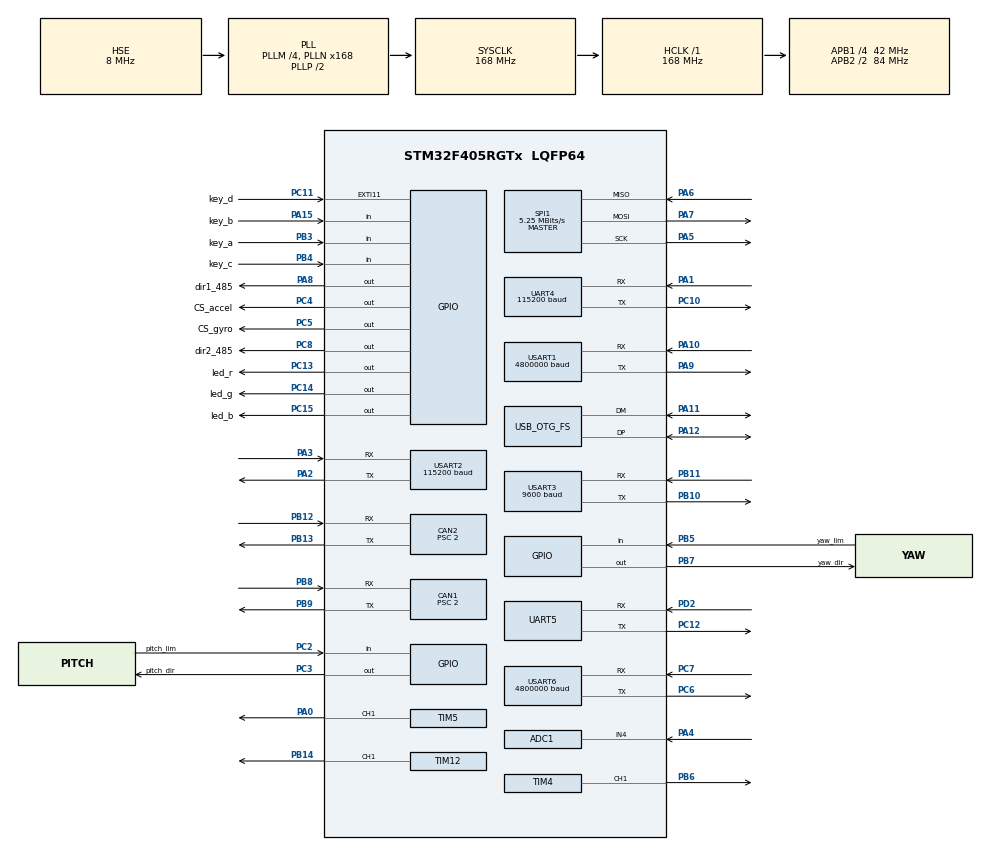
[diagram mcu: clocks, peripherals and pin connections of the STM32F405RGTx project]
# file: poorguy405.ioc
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ADC1.Channel-0\#ChannelRegularConversion=ADC_CHANNEL_4
ADC1.NbrOfConversionFlag=1
ADC1.Rank-0\#ChannelRegularConversion=1
ADC1.SamplingTime-0\#ChannelRegularConversion=ADC_SAMPLETIME_3CYCLES
ADC1.master=1
CAN1.ABOM=ENABLE
CAN1.AWUM=ENABLE
CAN1.BS1=CAN_BS1_15TQ
CAN1.BS2=CAN_BS2_5TQ
CAN1.CalculateBaudRate=1000000
CAN1.CalculateTimeBit=1000
CAN1.CalculateTimeQuantum=47.61904761904762
CAN1.NART=DISABLE
CAN1.Prescaler=2
CAN2.ABOM=ENABLE
CAN2.BS1=CAN_BS1_15TQ
CAN2.BS2=CAN_BS2_5TQ
CAN2.CalculateBaudRate=1000000
CAN2.CalculateTimeBit=1000
CAN2.CalculateTimeQuantum=47.61904761904762
CAN2.NART=ENABLE
CAN2.Prescaler=2
Dma.Request0=UART4_TX
Dma.Request1=UART5_TX
Dma.Request2=USART6_TX
Dma.Request3=USART1_TX
Dma.Request4=UART4_RX
Dma.Request5=UART5_RX
Dma.UART4_RX.4.Direction=DMA_PERIPH_TO_MEMORY
Dma.UART4_RX.4.FIFOMode=DMA_FIFOMODE_DISABLE
Dma.UART4_RX.4.Instance=DMA1_Stream2
Dma.UART4_RX.4.MemDataAlignment=DMA_MDATAALIGN_BYTE
Dma.UART4_RX.4.MemInc=DMA_MINC_ENABLE
Dma.UART4_RX.4.Mode=DMA_NORMAL
Dma.UART4_RX.4.PeriphDataAlignment=DMA_PDATAALIGN_BYTE
Dma.UART4_RX.4.PeriphInc=DMA_PINC_DISABLE
Dma.UART4_RX.4.Priority=DMA_PRIORITY_LOW
Dma.UART4_TX.0.Direction=DMA_MEMORY_TO_PERIPH
Dma.UART4_TX.0.FIFOMode=DMA_FIFOMODE_DISABLE
Dma.UART4_TX.0.Instance=DMA1_Stream4
Dma.UART4_TX.0.MemDataAlignment=DMA_MDATAALIGN_BYTE
Dma.UART4_TX.0.MemInc=DMA_MINC_ENABLE
Dma.UART4_TX.0.Mode=DMA_NORMAL
Dma.UART4_TX.0.PeriphDataAlignment=DMA_PDATAALIGN_BYTE
Dma.UART4_TX.0.PeriphInc=DMA_PINC_DISABLE
Dma.UART4_TX.0.Priority=DMA_PRIORITY_LOW
Dma.UART5_RX.5.Direction=DMA_PERIPH_TO_MEMORY
Dma.UART5_RX.5.FIFOMode=DMA_FIFOMODE_DISABLE
Dma.UART5_RX.5.Instance=DMA1_Stream0
Dma.UART5_RX.5.MemDataAlignment=DMA_MDATAALIGN_BYTE
Dma.UART5_RX.5.MemInc=DMA_MINC_ENABLE
Dma.UART5_RX.5.Mode=DMA_CIRCULAR
Dma.UART5_RX.5.PeriphDataAlignment=DMA_PDATAALIGN_BYTE
Dma.UART5_RX.5.PeriphInc=DMA_PINC_DISABLE
Dma.UART5_RX.5.Priority=DMA_PRIORITY_LOW
Dma.UART5_TX.1.Direction=DMA_MEMORY_TO_PERIPH
Dma.UART5_TX.1.FIFOMode=DMA_FIFOMODE_DISABLE
Dma.UART5_TX.1.Instance=DMA1_Stream7
Dma.UART5_TX.1.MemDataAlignment=DMA_MDATAALIGN_BYTE
Dma.UART5_TX.1.MemInc=DMA_MINC_ENABLE
Dma.UART5_TX.1.Mode=DMA_NORMAL
Dma.UART5_TX.1.PeriphDataAlignment=DMA_PDATAALIGN_BYTE
Dma.UART5_TX.1.PeriphInc=DMA_PINC_DISABLE
Dma.UART5_TX.1.Priority=DMA_PRIORITY_LOW
Dma.USART1_TX.3.Direction=DMA_MEMORY_TO_PERIPH
Dma.USART1_TX.3.FIFOMode=DMA_FIFOMODE_DISABLE
Dma.USART1_TX.3.Instance=DMA2_Stream7
Dma.USART1_TX.3.MemDataAlignment=DMA_MDATAALIGN_BYTE
Dma.USART1_TX.3.MemInc=DMA_MINC_ENABLE
Dma.USART1_TX.3.Mode=DMA_NORMAL
Dma.USART1_TX.3.PeriphDataAlignment=DMA_PDATAALIGN_BYTE
Dma.USART1_TX.3.PeriphInc=DMA_PINC_DISABLE
Dma.USART1_TX.3.Priority=DMA_PRIORITY_LOW
Dma.USART6_TX.2.Direction=DMA_MEMORY_TO_PERIPH
Dma.USART6_TX.2.FIFOMode=DMA_FIFOMODE_DISABLE
Dma.USART6_TX.2.Instance=DMA2_Stream6
Dma.USART6_TX.2.MemDataAlignment=DMA_MDATAALIGN_BYTE
Dma.USART6_TX.2.MemInc=DMA_MINC_ENABLE
Dma.USART6_TX.2.Mode=DMA_NORMAL
Dma.USART6_TX.2.PeriphDataAlignment=DMA_PDATAALIGN_BYTE
Dma.USART6_TX.2.PeriphInc=DMA_PINC_DISABLE
Dma.USART6_TX.2.Priority=DMA_PRIORITY_LOW
Mcu.Family=STM32F4
Mcu.Name=STM32F405RGTx
Mcu.Package=LQFP64
NVIC.CAN1_RX0_IRQn=true\:3\:0\:true\:false\:true\:true\:true\:true
NVIC.CAN1_RX1_IRQn=true\:3\:0\:true\:false\:true\:true\:true\:true
NVIC.CAN2_RX0_IRQn=true\:1\:0\:true\:false\:true\:true\:true\:true
NVIC.CAN2_RX1_IRQn=true\:1\:0\:true\:false\:true\:true\:true\:true
NVIC.DMA1_Stream0_IRQn=true\:0\:0\:false\:false\:true\:false\:true\:true
NVIC.DMA1_Stream2_IRQn=true\:0\:0\:false\:false\:true\:false\:true\:true
NVIC.DMA1_Stream4_IRQn=true\:0\:0\:false\:false\:true\:false\:true\:true
NVIC.DMA1_Stream7_IRQn=true\:0\:0\:false\:false\:true\:false\:true\:true
NVIC.DMA2_Stream6_IRQn=true\:0\:0\:false\:false\:true\:false\:true\:true
NVIC.DMA2_Stream7_IRQn=true\:0\:0\:false\:false\:true\:false\:true\:true
NVIC.EXTI15_10_IRQn=true\:2\:0\:true\:false\:true\:true\:true\:true
NVIC.OTG_FS_IRQn=true\:0\:0\:false\:false\:true\:false\:true\:true
NVIC.PriorityGroup=NVIC_PRIORITYGROUP_4
NVIC.TIM6_DAC_IRQn=true\:4\:0\:true\:false\:true\:true\:true\:true
NVIC.UART4_IRQn=true\:6\:0\:true\:false\:true\:true\:true\:true
NVIC.UART5_IRQn=true\:5\:0\:true\:false\:true\:true\:true\:true
NVIC.USART1_IRQn=true\:8\:0\:true\:false\:true\:true\:true\:true
NVIC.USART6_IRQn=true\:7\:0\:true\:false\:true\:true\:true\:true
PA0-WKUP.Signal=S_TIM5_CH1
PA1.Mode=Asynchronous
PA1.Signal=UART4_RX
PA10.Mode=Asynchronous
PA10.Signal=USART1_RX
PA11.Mode=Device_Only
PA11.Signal=USB_OTG_FS_DM
PA12.Mode=Device_Only
PA12.Signal=USB_OTG_FS_DP
PA13.Mode=Serial_Wire
PA13.Signal=SYS_JTMS-SWDIO
PA14.Mode=Serial_Wire
PA14.Signal=SYS_JTCK-SWCLK
PA15.GPIO_Label=key_b
PA15.Signal=GPIO_Input
PA2.Mode=Asynchronous
PA2.Signal=USART2_TX
PA3.Mode=Asynchronous
PA3.Signal=USART2_RX
PA4.Signal=ADCx_IN4
PA5.Mode=Full_Duplex_Master
PA5.Signal=SPI1_SCK
PA6.Mode=Full_Duplex_Master
PA6.Signal=SPI1_MISO
PA7.Mode=Full_Duplex_Master
PA7.Signal=SPI1_MOSI
PA8.GPIO_Label=dir1_485
PA8.Signal=GPIO_Output
PA9.Mode=Asynchronous
PA9.Signal=USART1_TX
PB10.Mode=Asynchronous
PB10.Signal=USART3_TX
PB11.Mode=Asynchronous
PB11.Signal=USART3_RX
PB12.Mode=CAN_Activate
PB12.Signal=CAN2_RX
PB13.Mode=CAN_Activate
PB13.Signal=CAN2_TX
PB14.Signal=S_TIM12_CH1
PB3.GPIO_Label=key_a
PB3.Signal=GPIO_Input
PB4.GPIO_Label=key_c
PB4.Signal=GPIO_Input
PB5.GPIO_Label=yaw_lim
PB5.GPIO_PuPd=GPIO_PULLDOWN
PB5.Signal=GPIO_Input
PB6.Signal=S_TIM4_CH1
PB7.GPIO_Label=yaw_dir
PB7.Signal=GPIO_Output
PB8.Mode=CAN_Activate
PB8.Signal=CAN1_RX
PB9.Mode=CAN_Activate
PB9.Signal=CAN1_TX
PC10.Mode=Asynchronous
PC10.Signal=UART4_TX
PC11.GPIO_Label=key_d
PC11.GPIO_ModeDefaultEXTI=GPIO_MODE_IT_RISING_FALLING
PC11.Signal=GPXTI11
PC12.Mode=Asynchronous
PC12.Signal=UART5_TX
PC13-ANTI_TAMP.GPIO_Label=led_r
PC13-ANTI_TAMP.GPIO_PuPd=GPIO_NOPULL
PC13-ANTI_TAMP.Signal=GPIO_Output
PC14-OSC32_IN.GPIO_Label=led_g
PC14-OSC32_IN.GPIO_PuPd=GPIO_NOPULL
PC14-OSC32_IN.Signal=GPIO_Output
PC15-OSC32_OUT.GPIO_Label=led_b
PC15-OSC32_OUT.GPIO_PuPd=GPIO_NOPULL
PC15-OSC32_OUT.Signal=GPIO_Output
PC2.GPIO_Label=pitch_lim
PC2.GPIO_PuPd=GPIO_PULLDOWN
PC2.Signal=GPIO_Input
PC3.GPIO_Label=pitch_dir
PC3.Signal=GPIO_Output
PC4.GPIO_Label=CS_accel
PC4.Signal=GPIO_Output
PC5.GPIO_Label=CS_gyro
PC5.Signal=GPIO_Output
PC6.Mode=Asynchronous
PC6.Signal=USART6_TX
PC7.Mode=Asynchronous
PC7.Signal=USART6_RX
PC8.GPIO_Label=dir2_485
PC8.Signal=GPIO_Output
PD2.Mode=Asynchronous
PD2.Signal=UART5_RX
PH0-OSC_IN.Mode=HSE-External-Oscillator
PH0-OSC_IN.Signal=RCC_OSC_IN
PH1-OSC_OUT.Mode=HSE-External-Oscillator
PH1-OSC_OUT.Signal=RCC_OSC_OUT
ProjectManager.HeapSize=0x200
ProjectManager.StackSize=0x400
ProjectManager.TargetToolchain=MDK-ARM V5.32
RCC.48MHZClocksFreq_Value=48000000
RCC.AHBFreq_Value=168000000
RCC.APB1CLKDivider=RCC_HCLK_DIV4
RCC.APB1Freq_Value=42000000
RCC.APB1TimFreq_Value=84000000
RCC.APB2CLKDivider=RCC_HCLK_DIV2
RCC.APB2Freq_Value=84000000
RCC.APB2TimFreq_Value=168000000
RCC.CortexFreq_Value=168000000
RCC.HCLKFreq_Value=168000000
RCC.HSE_VALUE=8000000
RCC.HSI_VALUE=16000000
RCC.LSE_VALUE=32768
RCC.PLLM=4
RCC.PLLN=168
RCC.PLLQ=7
RCC.SYSCLKFreq_VALUE=168000000
RCC.SYSCLKSource=RCC_SYSCLKSOURCE_PLLCLK
RCC.VCOOutputFreq_Value=336000000
SH.ADCx_IN4.0=ADC1_IN4,IN4
SH.S_TIM12_CH1.0=TIM12_CH1,PWM Generation1 CH1
SH.S_TIM4_CH1.0=TIM4_CH1,PWM Generation1 CH1
SH.S_TIM5_CH1.0=TIM5_CH1,PWM Generation1 CH1
SPI1.BaudRatePrescaler=SPI_BAUDRATEPRESCALER_16
SPI1.CalculateBaudRate=5.25 MBits/s
SPI1.Direction=SPI_DIRECTION_2LINES
SPI1.Mode=SPI_MODE_MASTER
SPI1.VirtualType=VM_MASTER
TIM12.Channel-PWM\ Generation1\ CH1=TIM_CHANNEL_1
TIM12.Period=9
TIM12.Prescaler=16799
TIM12.Pulse-PWM\ Generation1\ CH1=5
TIM4.Channel-PWM\ Generation1\ CH1=TIM_CHANNEL_1
TIM5.Channel-PWM\ Generation1\ CH1=TIM_CHANNEL_1
TIM6.Period=999
TIM6.Prescaler=167
UART4.BaudRate=115200
UART4.VirtualMode=Asynchronous
UART5.VirtualMode=Asynchronous
USART1.BaudRate=4800000
USART1.VirtualMode=VM_ASYNC
USART2.BaudRate=115200
USART2.VirtualMode=VM_ASYNC
USART3.BaudRate=9600
USART3.VirtualMode=VM_ASYNC
USART6.BaudRate=4800000
USART6.VirtualMode=VM_ASYNC
USB_DEVICE.CLASS_NAME_FS=CDC
USB_DEVICE.VirtualMode-CDC_FS=Cdc
USB_DEVICE.VirtualModeFS=Cdc_FS
USB_OTG_FS.VirtualMode=Device_Only
VP_TIM12_VS_ClockSourceINT.Mode=Internal
VP_TIM4_VS_ClockSourceINT.Mode=Internal
VP_TIM5_VS_ClockSourceINT.Mode=Internal
VP_TIM6_VS_ClockSourceINT.Mode=Enable_Timer
VP_USB_DEVICE_VS_USB_DEVICE_CDC_FS.Mode=CDC_FS
board=custom

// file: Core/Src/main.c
/* USER CODE BEGIN Header */
/**
  ******************************************************************************
  * @file           : main.c
  * @brief          : Main program body
  ******************************************************************************
  * @attention
  *
  * Copyright (c) 2024 STMicroelectronics.
  * All rights reserved.
  *
  * This software is licensed under terms that can be found in the LICENSE file
  * in the root directory of this software component.
  * If no LICENSE file comes with this software, it is provided AS-IS.
  *
  ******************************************************************************
  */
/* USER CODE END Header */
#include "main.h"
#include "adc.h"
#include "can.h"
#include "dma.h"
#include "spi.h"
#include "tim.h"
#include "usart.h"
#include "usb_device.h"
#include "gpio.h"

/* USER CODE BEGIN Includes */
#include "BMI088driver.h"
#include <unitree_A1_change_ID.h>
#include "bsp_can.h"
#include "dm_motor_drv.h"
#include "dm_motor_ctrl.h"

#include "odrive_can.h"
#include "ros_main.h"
/* USER CODE END Includes */

/* USER CODE BEGIN PV */
uint8_t rebuf[12];

/* USER CODE END PV */

void SystemClock_Config(void);

/* USER CODE BEGIN 0 */

void HAL_UART_RxCpltCallback(UART_HandleTypeDef *huart)
{
        HAL_UART_Receive_DMA(&huart1,(uint8_t *)rebuf,12); // ????DMA??
}

/* USER CODE END 0 */

int main(void)
{

  /* MCU Configuration--------------------------------------------------------*/

  /* Reset of all peripherals, Initializes the Flash interface and the Systick. */
  HAL_Init();

  /* Configure the system clock */
  SystemClock_Config();

  /* Initialize all configured peripherals */
  MX_GPIO_Init();
  MX_DMA_Init();
  MX_CAN1_Init();
  MX_CAN2_Init();
  MX_SPI1_Init();
  MX_UART4_Init();
  MX_UART5_Init();
  MX_ADC1_Init();
  MX_TIM4_Init();
  MX_TIM5_Init();
  MX_USART1_UART_Init();
  MX_USART2_UART_Init();
  MX_USART3_UART_Init();
  MX_USART6_UART_Init();
  MX_USB_DEVICE_Init();
  MX_TIM12_Init();
  MX_TIM6_Init();
  /* USER CODE BEGIN 2 */
	setup();//ros communicate sys

	while(BMI088_init()){}
//	startup_sing();

//	dm_motor_init();
//	write_motor_data(motor[Motor1].id, 10, 1, 0, 0, 0);// hack ,i feel nosense
//	HAL_Delay(1);
//	save_motor_data(motor[Motor1].id, 10);
//	HAL_Delay(1);

	HAL_GPIO_WritePin(dir1_485_GPIO_Port,dir1_485_Pin,1);//TX mode
	HAL_GPIO_WritePin(dir2_485_GPIO_Port,dir2_485_Pin,1);

	HAL_GPIO_WritePin(led_r_GPIO_Port,led_r_Pin,1); //turn off red led;
	HAL_GPIO_WritePin(led_g_GPIO_Port,led_g_Pin,1);
	HAL_GPIO_WritePin(led_b_GPIO_Port,led_b_Pin,1);
	while(1){
		HAL_Delay(200);
		HAL_GPIO_TogglePin(led_r_GPIO_Port,led_r_Pin);

		if(HAL_GPIO_ReadPin(key_c_GPIO_Port,key_c_Pin) == GPIO_PIN_SET){ //if all the motor has power supply
			HAL_GPIO_WritePin(led_r_GPIO_Port,led_r_Pin,1); //turn off red led;
			break;
		}
	}

	while(1){ //waiting person start mission
		HAL_Delay(200);
		HAL_GPIO_TogglePin(led_r_GPIO_Port,led_r_Pin);
		HAL_GPIO_TogglePin(led_g_GPIO_Port,led_g_Pin);

		if(HAL_GPIO_ReadPin(key_d_GPIO_Port,key_d_Pin) == GPIO_PIN_SET){
			HAL_GPIO_WritePin(led_r_GPIO_Port,led_r_Pin,1); //turn off red led;
//		bsp_can_init();
//			dm_motor_enable(&hcan1, &motor[Motor1]);
//			dm_motor_enable(&hcan2, &motor[Motor1]);
			change_A1_id();

			HAL_GPIO_WritePin(dir1_485_GPIO_Port,dir1_485_Pin,0);//RX mode
			HAL_GPIO_WritePin(dir2_485_GPIO_Port,dir2_485_Pin,0);
			//HAL_TIM_Base_Start_IT(&htim6);// 50hz event

			//HAL_UART_Receive_DMA(&huart5,(uint8_t *)rebuf,12);
			break;
		}
	}

  /* USER CODE END 2 */

  /* Infinite loop */
  /* USER CODE BEGIN WHILE */
  while (1)
  {
		loop();

    /* USER CODE END WHILE */

  }
}

void SystemClock_Config(void)
{
  RCC_OscInitTypeDef RCC_OscInitStruct = {0};
  RCC_ClkInitTypeDef RCC_ClkInitStruct = {0};

  /** Configure the main internal regulator output voltage
  */
  __HAL_RCC_PWR_CLK_ENABLE();
  __HAL_PWR_VOLTAGESCALING_CONFIG(PWR_REGULATOR_VOLTAGE_SCALE1);

  /** Initializes the RCC Oscillators according to the specified parameters
  * in the RCC_OscInitTypeDef structure.
  */
  RCC_OscInitStruct.OscillatorType = RCC_OSCILLATORTYPE_HSE;
  RCC_OscInitStruct.HSEState = RCC_HSE_ON;
  RCC_OscInitStruct.PLL.PLLState = RCC_PLL_ON;
  RCC_OscInitStruct.PLL.PLLSource = RCC_PLLSOURCE_HSE;
  RCC_OscInitStruct.PLL.PLLM = 4;
  RCC_OscInitStruct.PLL.PLLN = 168;
  RCC_OscInitStruct.PLL.PLLP = RCC_PLLP_DIV2;
  RCC_OscInitStruct.PLL.PLLQ = 7;
  if (HAL_RCC_OscConfig(&RCC_OscInitStruct) != HAL_OK)
  {
    Error_Handler();
  }

  /** Initializes the CPU, AHB and APB buses clocks
  */
  RCC_ClkInitStruct.ClockType = RCC_CLOCKTYPE_HCLK|RCC_CLOCKTYPE_SYSCLK
                              |RCC_CLOCKTYPE_PCLK1|RCC_CLOCKTYPE_PCLK2;
  RCC_ClkInitStruct.SYSCLKSource = RCC_SYSCLKSOURCE_PLLCLK;
  RCC_ClkInitStruct.AHBCLKDivider = RCC_SYSCLK_DIV1;
  RCC_ClkInitStruct.APB1CLKDivider = RCC_HCLK_DIV4;
  RCC_ClkInitStruct.APB2CLKDivider = RCC_HCLK_DIV2;

  if (HAL_RCC_ClockConfig(&RCC_ClkInitStruct, FLASH_LATENCY_5) != HAL_OK)
  {
    Error_Handler();
  }
}

void Error_Handler(void)
{
  __disable_irq();
  while (1)
  {
  }
}
